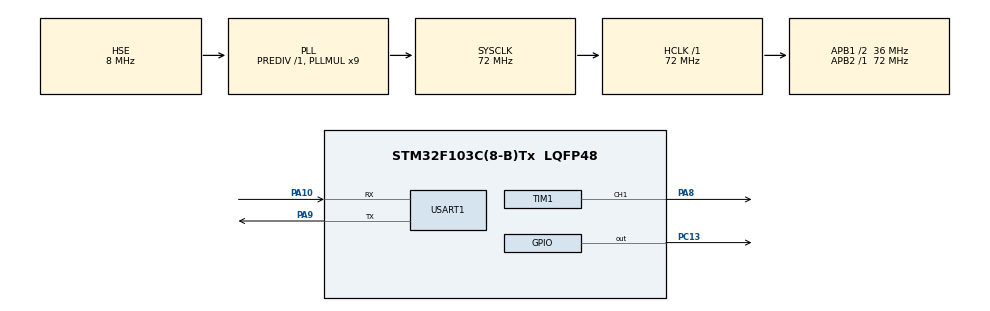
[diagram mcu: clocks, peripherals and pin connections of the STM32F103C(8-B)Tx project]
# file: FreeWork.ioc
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Dma.Request0=USART1_RX
Dma.Request1=USART1_TX
Dma.USART1_RX.0.Direction=DMA_PERIPH_TO_MEMORY
Dma.USART1_RX.0.Instance=DMA1_Channel5
Dma.USART1_RX.0.MemDataAlignment=DMA_MDATAALIGN_BYTE
Dma.USART1_RX.0.MemInc=DMA_MINC_ENABLE
Dma.USART1_RX.0.Mode=DMA_CIRCULAR
Dma.USART1_RX.0.PeriphDataAlignment=DMA_PDATAALIGN_BYTE
Dma.USART1_RX.0.PeriphInc=DMA_PINC_DISABLE
Dma.USART1_RX.0.Priority=DMA_PRIORITY_LOW
Dma.USART1_TX.1.Direction=DMA_MEMORY_TO_PERIPH
Dma.USART1_TX.1.Instance=DMA1_Channel4
Dma.USART1_TX.1.MemDataAlignment=DMA_MDATAALIGN_BYTE
Dma.USART1_TX.1.MemInc=DMA_MINC_ENABLE
Dma.USART1_TX.1.Mode=DMA_NORMAL
Dma.USART1_TX.1.PeriphDataAlignment=DMA_PDATAALIGN_BYTE
Dma.USART1_TX.1.PeriphInc=DMA_PINC_DISABLE
Dma.USART1_TX.1.Priority=DMA_PRIORITY_LOW
FREERTOS.Tasks01=B_LED,24,128,StartB_LED,Default,NULL,Dynamic,NULL,NULL;DMA_IO,24,128,StartDMA_IO,Default,NULL,Dynamic,NULL,NULL
Mcu.Family=STM32F1
Mcu.Name=STM32F103C(8-B)Tx
Mcu.Package=LQFP48
NVIC.DMA1_Channel4_IRQn=true\:5\:0\:false\:false\:true\:true\:false\:true\:true
NVIC.DMA1_Channel5_IRQn=true\:5\:0\:false\:false\:true\:true\:false\:true\:true
NVIC.PriorityGroup=NVIC_PRIORITYGROUP_4
NVIC.TIM2_IRQn=true\:15\:0\:false\:false\:true\:false\:false\:true\:true
NVIC.TimeBase=TIM2_IRQn
NVIC.TimeBaseIP=TIM2
NVIC.USART1_IRQn=true\:5\:0\:false\:false\:true\:true\:true\:true\:true
PA10.Mode=Asynchronous
PA10.Signal=USART1_RX
PA13.Mode=Serial_Wire
PA13.Signal=SYS_JTMS-SWDIO
PA14.Mode=Serial_Wire
PA14.Signal=SYS_JTCK-SWCLK
PA8.Signal=S_TIM1_CH1
PA9.Mode=Asynchronous
PA9.Signal=USART1_TX
PC13-TAMPER-RTC.Signal=GPIO_Output
PC14-OSC32_IN.Mode=LSE-External-Oscillator
PC14-OSC32_IN.Signal=RCC_OSC32_IN
PC15-OSC32_OUT.Mode=LSE-External-Oscillator
PC15-OSC32_OUT.Signal=RCC_OSC32_OUT
PD0-OSC_IN.Mode=HSE-External-Oscillator
PD0-OSC_IN.Signal=RCC_OSC_IN
PD1-OSC_OUT.Mode=HSE-External-Oscillator
PD1-OSC_OUT.Signal=RCC_OSC_OUT
ProjectManager.HeapSize=0x200
ProjectManager.StackSize=0x400
ProjectManager.TargetToolchain=MDK-ARM V5.32
RCC.AHBFreq_Value=72000000
RCC.APB1CLKDivider=RCC_HCLK_DIV2
RCC.APB1Freq_Value=36000000
RCC.APB1TimFreq_Value=72000000
RCC.APB2Freq_Value=72000000
RCC.APB2TimFreq_Value=72000000
RCC.HCLKFreq_Value=72000000
RCC.PLLMUL=RCC_PLL_MUL9
RCC.PLLSourceVirtual=RCC_PLLSOURCE_HSE
RCC.SYSCLKFreq_VALUE=72000000
RCC.SYSCLKSource=RCC_SYSCLKSOURCE_PLLCLK
RCC.USBFreq_Value=72000000
SH.S_TIM1_CH1.0=TIM1_CH1,PWM Generation1 CH1
TIM1.Channel-PWM\ Generation1\ CH1=TIM_CHANNEL_1
TIM1.Period=100-1
TIM1.Prescaler=720-1
USART1.VirtualMode=VM_ASYNC
VP_FREERTOS_VS_CMSIS_V2.Mode=CMSIS_V2
VP_SYS_VS_tim2.Mode=TIM2
VP_TIM1_VS_ClockSourceINT.Mode=Internal
board=custom

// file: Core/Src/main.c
/* USER CODE BEGIN Header */
/**
  ******************************************************************************
  * @file           : main.c
  * @brief          : Main program body
  ******************************************************************************
  * @attention
  *
  * Copyright (c) 2025 STMicroelectronics.
  * All rights reserved.
  *
  * This software is licensed under terms that can be found in the LICENSE file
  * in the root directory of this software component.
  * If no LICENSE file comes with this software, it is provided AS-IS.
  *
  ******************************************************************************
  */
/* USER CODE END Header */
#include "main.h"
#include "cmsis_os.h"
#include "dma.h"
#include "tim.h"
#include "usart.h"
#include "gpio.h"

/* USER CODE BEGIN Includes */

#define BUFFER_LINE 256

uint8_t tx_buffer[BUFFER_LINE]; // 发送缓冲区
uint8_t rx_buffer[BUFFER_LINE]; // 接收缓冲区
uint32_t head = 0; 							// 头部位置
uint32_t datalen = 0;						 // 传输的数据长度
uint32_t all_datalen = 0;				 // 总的数据长度
uint8_t complete_flag = 0;			 // 结束标志

/* USER CODE END Includes */

void SystemClock_Config(void);
void MX_FREERTOS_Init(void);

int main(void)
{

  /* MCU Configuration--------------------------------------------------------*/

  /* Reset of all peripherals, Initializes the Flash interface and the Systick. */
  HAL_Init();

  /* Configure the system clock */
  SystemClock_Config();

  /* Initialize all configured peripherals */
  MX_GPIO_Init();
  MX_DMA_Init();
  MX_TIM1_Init();
  MX_USART1_UART_Init();
  /* USER CODE BEGIN 2 */
		HAL_TIM_PWM_Start(&htim1, TIM_CHANNEL_1); // 配置PWM
		HAL_UART_Receive_DMA(&huart1, rx_buffer, sizeof(rx_buffer));//启动DMA接收数据
		__HAL_UART_ENABLE_IT(&huart1, UART_IT_IDLE);//开启空闲中断
		HAL_UART_Transmit(&huart1,(uint8_t*)"SystemLink\n",11,100);

  /* USER CODE END 2 */

  /* Init scheduler */
  osKernelInitialize();  /* Call init function for freertos objects (in cmsis_os2.c) */
  MX_FREERTOS_Init();

  /* Start scheduler */
  osKernelStart();

  /* We should never get here as control is now taken by the scheduler */

  /* Infinite loop */
  while (1)
  {

  }
}

void SystemClock_Config(void)
{
  RCC_OscInitTypeDef RCC_OscInitStruct = {0};
  RCC_ClkInitTypeDef RCC_ClkInitStruct = {0};

  /** Initializes the RCC Oscillators according to the specified parameters
  * in the RCC_OscInitTypeDef structure.
  */
  RCC_OscInitStruct.OscillatorType = RCC_OSCILLATORTYPE_HSE;
  RCC_OscInitStruct.HSEState = RCC_HSE_ON;
  RCC_OscInitStruct.HSEPredivValue = RCC_HSE_PREDIV_DIV1;
  RCC_OscInitStruct.HSIState = RCC_HSI_ON;
  RCC_OscInitStruct.PLL.PLLState = RCC_PLL_ON;
  RCC_OscInitStruct.PLL.PLLSource = RCC_PLLSOURCE_HSE;
  RCC_OscInitStruct.PLL.PLLMUL = RCC_PLL_MUL9;
  if (HAL_RCC_OscConfig(&RCC_OscInitStruct) != HAL_OK)
  {
    Error_Handler();
  }

  /** Initializes the CPU, AHB and APB buses clocks
  */
  RCC_ClkInitStruct.ClockType = RCC_CLOCKTYPE_HCLK|RCC_CLOCKTYPE_SYSCLK
                              |RCC_CLOCKTYPE_PCLK1|RCC_CLOCKTYPE_PCLK2;
  RCC_ClkInitStruct.SYSCLKSource = RCC_SYSCLKSOURCE_PLLCLK;
  RCC_ClkInitStruct.AHBCLKDivider = RCC_SYSCLK_DIV1;
  RCC_ClkInitStruct.APB1CLKDivider = RCC_HCLK_DIV2;
  RCC_ClkInitStruct.APB2CLKDivider = RCC_HCLK_DIV1;

  if (HAL_RCC_ClockConfig(&RCC_ClkInitStruct, FLASH_LATENCY_2) != HAL_OK)
  {
    Error_Handler();
  }
}

void HAL_TIM_PeriodElapsedCallback(TIM_HandleTypeDef *htim)
{
  if (htim->Instance == TIM2)
  {
    HAL_IncTick();
  }
}

void Error_Handler(void)
{
  __disable_irq();
  while (1)
  {
  }
}

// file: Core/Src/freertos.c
/* USER CODE BEGIN Header */
/**
  ******************************************************************************
  * File Name          : freertos.c
  * Description        : Code for freertos applications
  ******************************************************************************
  * @attention
  *
  * Copyright (c) 2025 STMicroelectronics.
  * All rights reserved.
  *
  * This software is licensed under terms that can be found in the LICENSE file
  * in the root directory of this software component.
  * If no LICENSE file comes with this software, it is provided AS-IS.
  *
  ******************************************************************************
  */
/* USER CODE END Header */

#include "FreeRTOS.h"
#include "task.h"
#include "main.h"
#include "cmsis_os.h"

/* USER CODE BEGIN Includes */

#define BUFFER_LINE 256
#include "math.h"

extern TIM_HandleTypeDef htim1;
extern UART_HandleTypeDef huart1;
extern uint32_t head; //头部位置
extern uint8_t tx_buffer[BUFFER_LINE]; //发送缓冲区
extern uint8_t rx_buffer[BUFFER_LINE]; //接收缓冲区
extern uint32_t all_datalen; // 数据总长
extern uint32_t datalen; //    数据长度
extern uint8_t complete_flag;//结束标志

/* USER CODE END Includes */

/* Definitions for B_LED */
osThreadId_t B_LEDHandle;
const osThreadAttr_t B_LED_attributes = {
  .name = "B_LED",
  .stack_size = 128 * 4,
  .priority = (osPriority_t) osPriorityNormal,
};
/* Definitions for DMA_IO */
osThreadId_t DMA_IOHandle;
const osThreadAttr_t DMA_IO_attributes = {
  .name = "DMA_IO",
  .stack_size = 128 * 4,
  .priority = (osPriority_t) osPriorityNormal,
};

void StartB_LED(void *argument);
void StartDMA_IO(void *argument);

void MX_FREERTOS_Init(void); /* (MISRA C 2004 rule 8.1) */

void MX_FREERTOS_Init(void) {

  /* Create the thread(s) */
  /* creation of B_LED */
  B_LEDHandle = osThreadNew(StartB_LED, NULL, &B_LED_attributes);

  /* creation of DMA_IO */
  DMA_IOHandle = osThreadNew(StartDMA_IO, NULL, &DMA_IO_attributes);

}

void StartB_LED(void *argument)
{
  /* USER CODE BEGIN StartB_LED */
  /* Infinite loop */
  for(;;)
  {
    int t;
		for(int i=0;i<100;i++){
			t=50*sin(2 * i*3.1415/100)+50;
			__HAL_TIM_SET_COMPARE(&htim1,TIM_CHANNEL_1,t);
			HAL_Delay(10);
		}

		HAL_Delay(100);//等待100ms
  }
  /* USER CODE END StartB_LED */
}

void StartDMA_IO(void *argument)
{
  /* USER CODE BEGIN StartDMA_IO */

  /* Infinite loop */
  for(;;)
  {
		if(complete_flag){//如果空闲中断已经处理完数据

			complete_flag = 0; //清除完成标志
			HAL_UART_Transmit_DMA(&huart1, tx_buffer, datalen); //发送收到的数据
			__HAL_DMA_ENABLE(huart1.hdmarx); //重新启动DMA接收

		}
		HAL_Delay(20);

  }
  /* USER CODE END StartDMA_IO */
}
